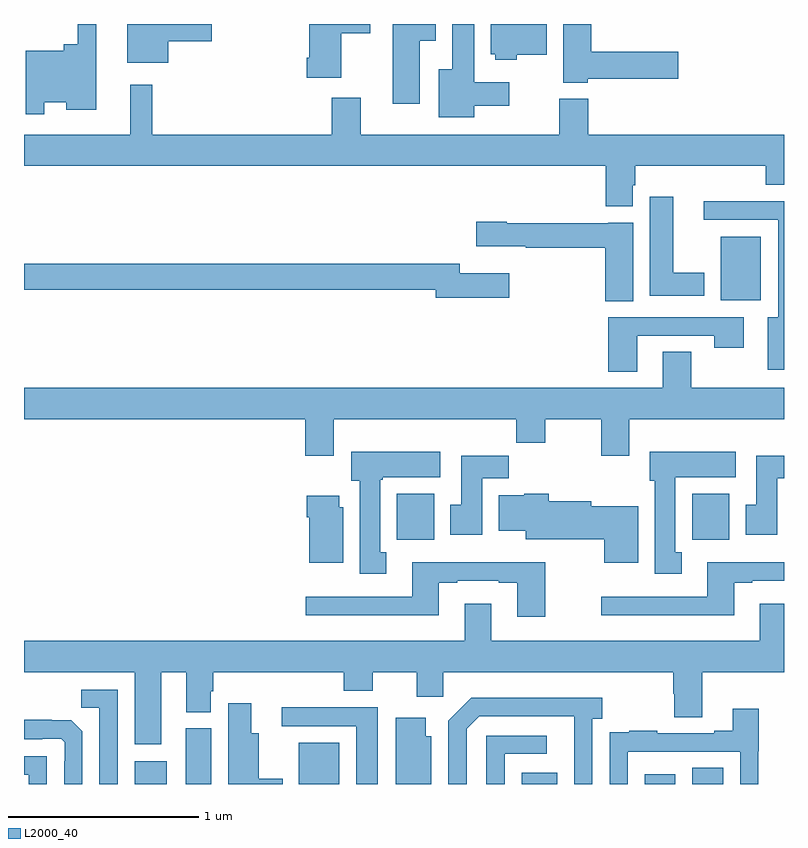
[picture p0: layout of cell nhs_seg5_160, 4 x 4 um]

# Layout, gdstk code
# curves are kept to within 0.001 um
import gdstk
lib = gdstk.Library(unit=1e-6, precision=1e-09)
def R(c, l, rs):  # rectangles x0, y0, x1, y1
    for r in rs: c.add(gdstk.rectangle(r[:2], r[2:], *l))
def P(c, l, *ps):  # polygons
    for p in ps: c.add(gdstk.Polygon(p, *l))
L2000_40 = (2000, 40)

nhs_seg5_160 = lib.new_cell('nhs_seg5_160')
R(nhs_seg5_160, L2000_40, [(119.582,894.799,119.752,894.919), (119.852,894.799,119.986,895.092), (120.446,894.799,120.658,895.015), (121.619,894.799,121.807,894.859), (122.267,894.799,122.428,894.85), (122.516,894.799,122.68,894.884), (120.962,896.084,121.159,896.326), (122.516,896.084,122.713,896.326), (122.666,897.344,122.878,897.679)])
P(nhs_seg5_160, L2000_40, [(121.084,898.712),(121.168,898.712),(121.168,898.799),(120.941,898.799),(120.941,898.38),(121.084,898.38)],
  [(119.106,898.388),(119.222,898.388),(119.222,898.349),(119.38,898.349),(119.38,898.799),(119.283,898.799),(119.283,898.693),(119.21,898.693),(119.21,898.657),(119.01,898.657),(119.01,898.323),(119.106,898.323)],
  [(119.758,898.709),(119.987,898.709),(119.987,898.799),(119.543,898.799),(119.543,898.595),(119.758,898.595)],
  [(121.968,898.51),(122.443,898.51),(122.443,898.652),(121.985,898.652),(121.985,898.799),(121.838,898.799),(121.838,898.49),(121.968,898.49)],
  [(120.67,898.75),(120.823,898.75),(120.823,898.799),(120.5,898.799),(120.5,898.621),(120.488,898.621),(120.488,898.517),(120.67,898.517)],
  [(121.369,898.37),(121.555,898.37),(121.555,898.492),(121.369,898.492),(121.369,898.799),(121.253,898.799),(121.253,898.561),(121.184,898.561),(121.184,898.307),(121.369,898.307)],
  [(121.593,898.637),(121.75,898.637),(121.75,898.799),(121.457,898.799),(121.457,898.641),(121.479,898.641),(121.479,898.61),(121.593,898.61)],
  [(122.203,897.951),(122.216,897.951),(122.216,898.052),(122.903,898.052),(122.903,897.953),(123,897.953),(123,898.216),(121.97,898.216),(121.97,898.405),(121.817,898.405),(121.817,898.216),(120.772,898.216),(120.772,898.411),(120.62,898.411),(120.62,898.216),(119.675,898.216),(119.675,898.48),(119.558,898.48),(119.558,898.216),(119,898.216),(119,898.052),(122.063,898.052),(122.063,897.839),(122.203,897.839)],
  [(122.581,897.49),(122.416,897.49),(122.416,897.889),(122.294,897.889),(122.294,897.368),(122.581,897.368)],
  [(123,897.866),(122.577,897.866),(122.577,897.768),(122.969,897.768),(122.969,897.256),(122.915,897.256),(122.915,896.978),(123,896.978)],
  [(122.206,897.754),(122.076,897.754),(122.076,897.751),(121.542,897.751),(121.542,897.759),(121.38,897.759),(121.38,897.629),(121.642,897.629),(121.642,897.622),(122.06,897.622),(122.06,897.34),(122.206,897.34)],
  [(121.555,897.487),(121.294,897.487),(121.294,897.536),(119,897.536),(119,897.4),(121.166,897.4),(121.166,897.358),(121.555,897.358)],
  [(122.227,897.159),(122.632,897.159),(122.632,897.096),(122.788,897.096),(122.788,897.255),(122.075,897.255),(122.075,896.97),(122.227,896.97)],
  [(120.631,896.72),(121.591,896.72),(121.591,896.596),(121.743,896.596),(121.743,896.72),(122.038,896.72),(122.038,896.526),(122.185,896.526),(122.185,896.72),(123,896.72),(123,896.884),(122.511,896.884),(122.511,897.074),(122.363,897.074),(122.363,896.884),(119,896.884),(119,896.72),(120.479,896.72),(120.479,896.526),(120.631,896.526)],
  [(120.907,896.018),(120.874,896.018),(120.874,896.401),(120.888,896.401),(120.888,896.414),(121.192,896.414),(121.192,896.548),(120.722,896.548),(120.722,896.394),(120.767,896.394),(120.767,895.905),(120.907,895.905)],
  [(122.461,896.018),(122.428,896.018),(122.428,896.414),(122.746,896.414),(122.746,896.548),(122.294,896.548),(122.294,896.394),(122.321,896.394),(122.321,895.905),(122.461,895.905)],
  [(121.411,896.408),(121.55,896.408),(121.55,896.527),(121.301,896.527),(121.301,896.268),(121.244,896.268),(121.244,896.112),(121.411,896.112)],
  [(122.965,896.408),(123,896.408),(123,896.527),(122.855,896.527),(122.855,896.268),(122.798,896.268),(122.798,896.112),(122.965,896.112)],
  [(122.233,896.26),(121.986,896.26),(121.986,896.287),(121.763,896.287),(121.763,896.326),(121.632,896.326),(121.632,896.32),(121.499,896.32),(121.499,896.132),(121.64,896.132),(121.64,896.087),(122.054,896.087),(122.054,895.964),(122.233,895.964)],
  [(120.679,896.256),(120.658,896.256),(120.658,896.317),(120.488,896.317),(120.488,896.204),(120.5,896.204),(120.5,895.964),(120.679,895.964)],
  [(122.737,895.857),(122.833,895.857),(122.833,895.869),(123,895.869),(123,895.966),(122.597,895.966),(122.597,895.785),(122.037,895.785),(122.037,895.688),(122.737,895.688)],
  [(121.743,895.966),(121.043,895.966),(121.043,895.785),(120.483,895.785),(120.483,895.688),(121.183,895.688),(121.183,895.857),(121.279,895.857),(121.279,895.869),(121.499,895.869),(121.499,895.857),(121.595,895.857),(121.595,895.68),(121.743,895.68)],
  [(119.722,895.388),(119.855,895.388),(119.855,895.177),(119.983,895.177),(119.983,895.287),(119.996,895.287),(119.996,895.388),(120.683,895.388),(120.683,895.289),(120.835,895.289),(120.835,895.388),(121.067,895.388),(121.067,895.257),(121.206,895.257),(121.206,895.388),(122.417,895.388),(122.417,895.275),(122.422,895.275),(122.422,895.15),(122.569,895.15),(122.569,895.388),(123,895.388),(123,895.747),(122.873,895.747),(122.873,895.552),(121.459,895.552),(121.459,895.747),(121.319,895.747),(121.319,895.552),(119,895.552),(119,895.388),(119.582,895.388),(119.582,895.008),(119.722,895.008)],
  [(119.493,895.296),(119.302,895.296),(119.302,895.201),(119.397,895.201),(119.397,894.799),(119.493,894.799)],
  [(121.329,895.089),(121.395,895.155),(121.895,895.155),(121.896,894.799),(121.992,894.799),(121.992,895.142),(122.044,895.142),(122.044,895.252),(121.354,895.252),(121.233,895.131),(121.233,894.799),(121.329,894.799)],
  [(120.361,894.826),(120.235,894.826),(120.235,895.066),(120.196,895.066),(120.196,895.225),(120.074,895.225),(120.074,894.799),(120.361,894.799)],
  [(120.862,895.202),(120.357,895.202),(120.357,895.104),(120.749,895.104),(120.749,894.799),(120.862,894.799)],
  [(122.178,894.969),(122.769,894.969),(122.769,894.799),(122.865,894.799),(122.865,894.972),(122.866,894.972),(122.866,895.195),(122.729,895.195),(122.729,895.078),(122.633,895.078),(122.633,895.065),(122.333,895.065),(122.333,895.078),(122.185,895.078),(122.185,895.071),(122.083,895.071),(122.083,894.962),(122.082,894.962),(122.082,894.799),(122.178,894.799)],
  [(121.144,895.051),(121.114,895.051),(121.114,895.147),(120.956,895.147),(120.956,894.898),(120.957,894.898),(120.957,894.799),(121.144,894.799)],
  [(119.307,895.076),(119.248,895.135),(119,895.136),(119,895.035),(119.096,895.035),(119.096,895.038),(119.196,895.038),(119.214,895.02),(119.214,894.92),(119.211,894.92),(119.211,894.799),(119.307,894.799)],
  [(121.53,894.957),(121.75,894.957),(121.75,895.053),(121.434,895.053),(121.434,894.799),(121.53,894.799)],
  [(119.121,894.945),(119,894.945),(119,894.849),(119.025,894.849),(119.025,894.799),(119.121,894.799)])

lib.write_gds('nhs_seg5_160.gds')
